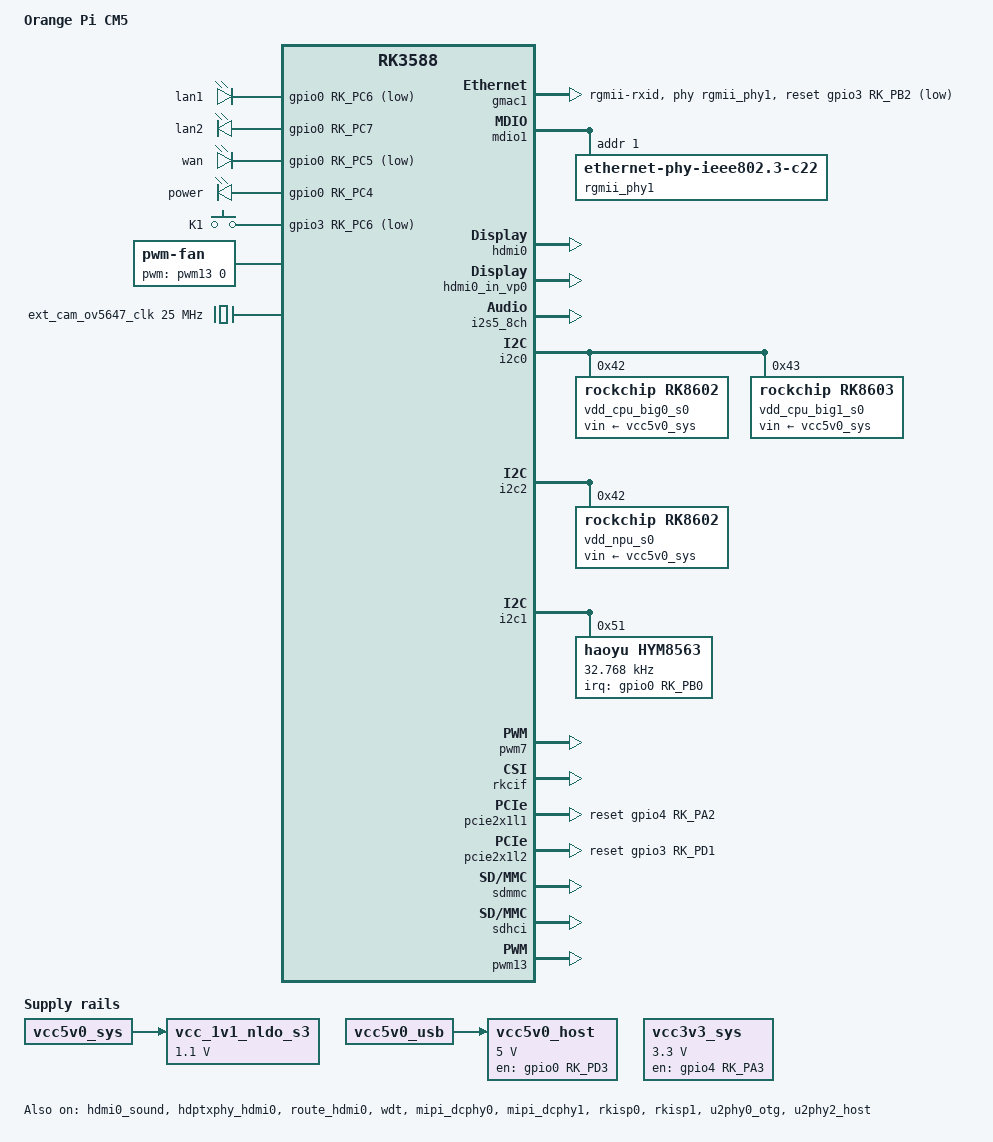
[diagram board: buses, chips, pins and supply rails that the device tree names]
// SPDX-License-Identifier: (GPL-2.0+ OR MIT)
/*
 * Copyright (c) 2021 Rockchip Electronics Co., Ltd.
 *
 */

/dts-v1/;

#include "rk3588s-orangepi-cm5.dtsi"
#include "rk3588-linux.dtsi"
#include "rk3588s-orangepi-cm5-camera1.dtsi"
#include "rk3588s-orangepi-cm5-camera2.dtsi"
#include "rk3588s-orangepi-cm5-camera3.dtsi"
#include "rk3588s-orangepi-cm5-camera4.dtsi"

/ {
	model = "Orange Pi CM5";
	compatible = "rockchip,rk3588s-orangepi-cm5", "rockchip,rk3588";

	vcc3v3_sys: vcc3v3-sys {
		compatible = "regulator-fixed";
		regulator-name = "vcc3v3_sys";
		regulator-min-microvolt = <3300000>;
		regulator-max-microvolt = <3300000>;
		regulator-boot-on;
		regulator-always-on;
		enable-active-high;
		gpios = <&gpio4 RK_PA3 GPIO_ACTIVE_HIGH>;
		startup-delay-us = <50000>;
	};

	vcc_1v1_nldo_s3: vcc-1v1-nldo-s3 {
		compatible = "regulator-fixed";
		regulator-name = "vcc_1v1_nldo_s3";
		regulator-always-on;
		regulator-boot-on;
		regulator-min-microvolt = <1100000>;
		regulator-max-microvolt = <1100000>;
		vin-supply = <&vcc5v0_sys>;
	};

	vcc5v0_host: vcc5v0-host {
		compatible = "regulator-fixed";
		regulator-name = "vcc5v0_host";
		regulator-boot-on;
		regulator-always-on;
		regulator-min-microvolt = <5000000>;
		regulator-max-microvolt = <5000000>;
		enable-active-high;
		gpio = <&gpio0 RK_PD3 GPIO_ACTIVE_HIGH>;
		vin-supply = <&vcc5v0_usb>;
		pinctrl-names = "default";
		pinctrl-0 = <&vcc5v0_host_en>;
	};

	leds: gpio-leds {
		compatible = "gpio-leds";
		pinctrl-names = "default";
		pinctrl-0 =<&leds_gpio>;
		status = "okay";

		lan1@0 {
			gpios = <&gpio0 RK_PC6 GPIO_ACTIVE_LOW>;
			label = "lan1";
			default-state = "on";
		};

		lan2@1 {
			gpios = <&gpio0 RK_PC7 GPIO_ACTIVE_HIGH>;
			label = "lan2";
			default-state = "on";
		};

		wan@3 {
			gpios = <&gpio0 RK_PC5 GPIO_ACTIVE_LOW>;
			label = "wan";
			default-state = "on";
		};

		power@4 {
			gpios = <&gpio0 RK_PC4 GPIO_ACTIVE_HIGH>;
			label = "power";
			default-state = "off";
		};
	};

	gpio_keys: gpio-keys {
		compatible = "gpio-keys";
		pinctrl-names = "default";
		pinctrl-0 = <&key1_pin>;

		button@1 {
			debounce-interval = <50>;
			gpios = <&gpio3 RK_PC6 GPIO_ACTIVE_LOW>;
			label = "K1";
			linux,code = <KEY_POWER>;
			wakeup-source;
		};
	};

	fan: pwm-fan {
		compatible = "pwm-fan";
		#cooling-cells = <2>;
		pwms = <&pwm13 0 50000 0>;
		cooling-levels = <0 50 100 150 200 255>;
		rockchip,temp-trips = <
			50000   1
			55000   2
			60000   3
			65000   4
			70000   5
		>;

		status = "okay";
	};

	ext_cam_ov5647_clk: external-camera-ov5647-clock {
		compatible = "fixed-clock";
		clock-frequency = <25000000>;
		clock-output-names = "ext_cam_ov5647_clk";
		#clock-cells = <0>;
	};
};

&gmac1 {
	/* Use rgmii-rxid mode to disable rx delay inside Soc */
	phy-mode = "rgmii-rxid";
	clock_in_out = "output";

	snps,reset-gpio = <&gpio3 RK_PB2 GPIO_ACTIVE_LOW>;
	snps,reset-active-low;
	/* Reset time is 20ms, 100ms for rtl8211f */
	snps,reset-delays-us = <0 20000 100000>;

	pinctrl-names = "default";
	pinctrl-0 = <&gmac1_miim
	             &gmac1_tx_bus2
	             &gmac1_rx_bus2
	             &gmac1_rgmii_clk
	             &gmac1_rgmii_bus>;

	tx_delay = <0x42>;
	/* rx_delay = <0x3f>; */

	phy-handle = <&rgmii_phy1>;
	status = "okay";
};

&mdio1 {
	rgmii_phy1: phy@1 {
		compatible = "ethernet-phy-ieee802.3-c22";
		reg = <0x1>;
	};
};

&hdmi0 {
	enable-gpios = <&gpio4 RK_PB5 GPIO_ACTIVE_HIGH>;
	cec-enable;
	status = "okay";
};

&hdmi0_in_vp0 {
	status = "okay";
};

&hdmi0_sound {
	status = "okay";
};

&hdptxphy_hdmi0 {
	status = "okay";
};

&route_hdmi0{
	status = "okay";
};

&i2s5_8ch {
	status = "okay";
};

&i2s1_8ch {
	status = "disabled";
	rockchip,i2s-tx-route = <3 2 1 0>;
	rockchip,i2s-rx-route = <1 3 2 0>;
	pinctrl-names = "default";
	pinctrl-0 = <&i2s1m0_sclk
	             &i2s1m0_lrck
	             &i2s1m0_sdi1
	             &i2s1m0_sdo3>;
};

&i2c0 {
	status = "okay";
	pinctrl-names = "default";
	pinctrl-0 = <&i2c0m2_xfer>;

	vdd_cpu_big0_s0: vdd_cpu_big0_mem_s0: rk8602@42 {
		compatible = "rockchip,rk8602";
		reg = <0x42>;
		vin-supply = <&vcc5v0_sys>;
		regulator-compatible = "rk860x-reg";
		regulator-name = "vdd_cpu_big0_s0";
		regulator-min-microvolt = <550000>;
		regulator-max-microvolt = <1050000>;
		regulator-ramp-delay = <2300>;
		rockchip,suspend-voltage-selector = <1>;
		regulator-boot-on;
		regulator-always-on;
		regulator-state-mem {
			regulator-off-in-suspend;
		};
	};

	vdd_cpu_big1_s0: vdd_cpu_big1_mem_s0: rk8603@43 {
		compatible = "rockchip,rk8603";
		reg = <0x43>;
		vin-supply = <&vcc5v0_sys>;
		regulator-compatible = "rk860x-reg";
		regulator-name = "vdd_cpu_big1_s0";
		regulator-min-microvolt = <550000>;
		regulator-max-microvolt = <1050000>;
		regulator-ramp-delay = <2300>;
		rockchip,suspend-voltage-selector = <1>;
		regulator-boot-on;
		regulator-always-on;
		regulator-state-mem {
			regulator-off-in-suspend;
		};
	};
};

&i2c2 {
	status = "okay";

	vdd_npu_s0: vdd_npu_mem_s0: rk8602@42 {
		compatible = "rockchip,rk8602";
		reg = <0x42>;
		vin-supply = <&vcc5v0_sys>;
		regulator-compatible = "rk860x-reg";
		regulator-name = "vdd_npu_s0";
		regulator-min-microvolt = <550000>;
		regulator-max-microvolt = <950000>;
		regulator-ramp-delay = <2300>;
		rockchip,suspend-voltage-selector = <1>;
		regulator-boot-on;
		regulator-always-on;
		regulator-state-mem {
			regulator-off-in-suspend;
		};
	};
};

&i2c1 {
	status = "okay";
	pinctrl-names = "default";
	pinctrl-0 = <&i2c1m2_xfer>;

	hym8563: hym8563@51 {
		compatible = "haoyu,hym8563";
		reg = <0x51>;
		#clock-cells = <0>;
		clock-frequency = <32768>;
		clock-output-names = "hym8563";
		pinctrl-names = "default";
		pinctrl-0 = <&hym8563_int>;
		interrupt-parent = <&gpio0>;
		interrupts = <RK_PB0 IRQ_TYPE_LEVEL_LOW>;
		wakeup-source;
	};
};

&pwm7 {
	compatible = "rockchip,remotectl-pwm";
	pinctrl-names = "default";
	pinctrl-0 = <&pwm7m0_pins>;
	remote_pwm_id = <3>;
	handle_cpu_id = <1>;
	remote_support_psci = <0>;
	status = "okay";

	ir_key1 {
		rockchip,usercode = <0xfb04>;
		rockchip,key_table =
		        <0xa3   KEY_ENTER>,
		        <0xe4   388>,
		        <0xf5   KEY_BACK>,
		        <0xbb   KEY_UP>,
		        <0xe2   KEY_DOWN>,
		        <0xe3   KEY_LEFT>,
		        <0xb7   KEY_RIGHT>,
		        <0xe0   KEY_HOME>,
		        <0xba   KEY_VOLUMEUP>,
		        <0xda   KEY_VOLUMEUP>,
		        <0xe6   KEY_VOLUMEDOWN>,
		        <0xdb   KEY_VOLUMEDOWN>,
		        <0xbc   KEY_SEARCH>,
		        <0xb2   KEY_POWER>,
		        <0xe5   KEY_POWER>,
		        <0xde   KEY_POWER>,
		        <0xdc   KEY_MUTE>,
		        <0xa2   KEY_MENU>,
		        <0xec   KEY_1>,
		        <0xef   KEY_2>,
		        <0xee   KEY_3>,
		        <0xf0   KEY_4>,
		        <0xf3   KEY_5>,
		        <0xf2   KEY_6>,
		        <0xf4   KEY_7>,
		        <0xf7   KEY_8>,
		        <0xf6   KEY_9>,
		        <0xb8   KEY_0>;
	};
};

/* watchdog */
&wdt {
	status = "okay";
};

&mipi_dcphy0 {
	status = "okay";
};

&mipi_dcphy1 {
	status = "okay";
};

&rkcif {
	status = "okay";
};

&rkcif_mmu {
	status = "okay";
};

&rkisp0 {
	status = "okay";
};

&isp0_mmu {
	status = "okay";
};

&rkisp1 {
	status = "okay";
};

&isp1_mmu {
	status = "okay";
};

//phy2
&pcie2x1l1 {
	reset-gpios = <&gpio4 RK_PA2 GPIO_ACTIVE_HIGH>;
	status = "okay";
};

&pcie2x1l2 {
	reset-gpios = <&gpio3 RK_PD1 GPIO_ACTIVE_HIGH>;
	status = "okay";
};

&sdmmc {
	status = "okay";

	/delete-property/ vmmc-supply;
};

&pinctrl
{
	gpio-func {
		leds_gpio: leds-gpio {
			rockchip,pins =
				<0 RK_PC5 RK_FUNC_GPIO &pcfg_pull_none>,
				<0 RK_PC6 RK_FUNC_GPIO &pcfg_pull_none>,
				<0 RK_PC7 RK_FUNC_GPIO &pcfg_pull_none>;
		};
	};
};

&dsi0 {
	status = "disabled";
};

&dsi1 {
	status = "disabled";
};

&u2phy0_otg {
	phy-supply = <&vcc5v0_host>;
	status = "okay";
};

&u2phy2_host {
	phy-supply = <&vcc5v0_host>;
        status = "okay";
};

&sdhci {
	status = "okay";

	pinctrl-names = "default";
	pinctrl-0 = <&emmc_rstnout &emmc_bus8 &emmc_clk &emmc_cmd &emmc_data_strobe>;
};

&pinctrl {
	usb {
		vcc5v0_host_en: vcc5v0-host-en {
			rockchip,pins = <0 RK_PD3 RK_FUNC_GPIO &pcfg_pull_none>;
		};
	};

	hym8563 {
		hym8563_int: hym8563-int {
			rockchip,pins = <0 RK_PB0 RK_FUNC_GPIO &pcfg_pull_up>;
		};
	};

	gpio-key {
		key1_pin: key1-pin {
			rockchip,pins = <3 RK_PC6 RK_FUNC_GPIO &pcfg_pull_up>;
		};
	};
};

&pwm13 {
	status = "okay";
	pinctrl-names = "active";
	pinctrl-0 = <&pwm13m1_pins>;
};

&pwm14 {
        status = "disabled";
        pinctrl-names = "active";
        pinctrl-0 = <&pwm14m1_pins>;
};

&pwm15 {
        status = "disabled";
        pinctrl-names = "active";
        pinctrl-0 = <&pwm15m1_pins>;
};

&i2c7 {
        status = "disabled";
        pinctrl-names = "default";
        pinctrl-0 = <&i2c7m3_xfer>;
};

&uart4 {
        status = "disabled";
        pinctrl-names = "default";
        pinctrl-0 = <&uart4m2_xfer>;
};


&uart7 {
        status = "disabled";
        pinctrl-names = "default";
        pinctrl-0 = <&uart7m2_xfer>;
};

&can1 {
        status = "disabled";
        pinctrl-names = "default";
        pinctrl-0 = <&can1m1_pins>;
        assigned-clocks = <&cru CLK_CAN1>;
        assigned-clock-rates = <200000000>;
};

&spi0 {
        status = "disabled";
        assigned-clocks = <&cru CLK_SPI0>;
        assigned-clock-rates = <200000000>;
        num-cs = <2>;
};
